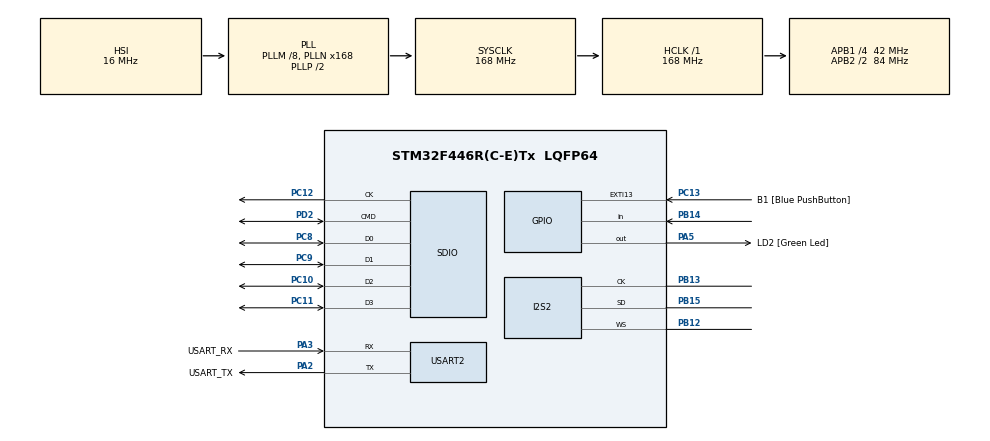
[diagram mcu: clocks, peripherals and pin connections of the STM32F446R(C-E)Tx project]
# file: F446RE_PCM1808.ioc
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Dma.Request0=SPI2_RX
Dma.Request1=SDIO_RX
Dma.Request2=SDIO_TX
Dma.SDIO_RX.1.Direction=DMA_PERIPH_TO_MEMORY
Dma.SDIO_RX.1.FIFOMode=DMA_FIFOMODE_ENABLE
Dma.SDIO_RX.1.FIFOThreshold=DMA_FIFO_THRESHOLD_FULL
Dma.SDIO_RX.1.Instance=DMA2_Stream3
Dma.SDIO_RX.1.MemBurst=DMA_MBURST_INC4
Dma.SDIO_RX.1.MemDataAlignment=DMA_MDATAALIGN_WORD
Dma.SDIO_RX.1.MemInc=DMA_MINC_ENABLE
Dma.SDIO_RX.1.Mode=DMA_PFCTRL
Dma.SDIO_RX.1.PeriphBurst=DMA_PBURST_INC4
Dma.SDIO_RX.1.PeriphDataAlignment=DMA_PDATAALIGN_WORD
Dma.SDIO_RX.1.PeriphInc=DMA_PINC_DISABLE
Dma.SDIO_RX.1.Priority=DMA_PRIORITY_LOW
Dma.SDIO_TX.2.Direction=DMA_MEMORY_TO_PERIPH
Dma.SDIO_TX.2.FIFOMode=DMA_FIFOMODE_ENABLE
Dma.SDIO_TX.2.FIFOThreshold=DMA_FIFO_THRESHOLD_FULL
Dma.SDIO_TX.2.Instance=DMA2_Stream6
Dma.SDIO_TX.2.MemBurst=DMA_MBURST_INC4
Dma.SDIO_TX.2.MemDataAlignment=DMA_MDATAALIGN_WORD
Dma.SDIO_TX.2.MemInc=DMA_MINC_ENABLE
Dma.SDIO_TX.2.Mode=DMA_PFCTRL
Dma.SDIO_TX.2.PeriphBurst=DMA_PBURST_INC4
Dma.SDIO_TX.2.PeriphDataAlignment=DMA_PDATAALIGN_WORD
Dma.SDIO_TX.2.PeriphInc=DMA_PINC_DISABLE
Dma.SDIO_TX.2.Priority=DMA_PRIORITY_LOW
Dma.SPI2_RX.0.Direction=DMA_PERIPH_TO_MEMORY
Dma.SPI2_RX.0.FIFOMode=DMA_FIFOMODE_DISABLE
Dma.SPI2_RX.0.Instance=DMA1_Stream3
Dma.SPI2_RX.0.MemDataAlignment=DMA_MDATAALIGN_HALFWORD
Dma.SPI2_RX.0.MemInc=DMA_MINC_ENABLE
Dma.SPI2_RX.0.Mode=DMA_NORMAL
Dma.SPI2_RX.0.PeriphDataAlignment=DMA_PDATAALIGN_HALFWORD
Dma.SPI2_RX.0.PeriphInc=DMA_PINC_DISABLE
Dma.SPI2_RX.0.Priority=DMA_PRIORITY_LOW
FATFS.BSP.number=1
FATFS0.BSP.STBoard=false
FATFS0.BSP.api=Unknown
FATFS0.BSP.instance=PB14
FATFS0.BSP.ip=GPIO
FATFS0.BSP.mode=Input
FATFS0.BSP.name=Detect_SDIO
FATFS0.BSP.solution=PB14
I2S2.AudioFreq=I2S_AUDIOFREQ_48K
I2S2.DataFormat=I2S_DATAFORMAT_24B
I2S2.ErrorAudioFreq=1.72 %
I2S2.FullDuplexMode=I2S_FULLDUPLEXMODE_DISABLE
I2S2.Instance=SPI$Index
I2S2.Mode=I2S_MODE_MASTER_RX
I2S2.RealAudioFreq=48.828 KHz
I2S2.VirtualMode=I2S_MODE_MASTER
Mcu.Family=STM32F4
Mcu.Name=STM32F446R(C-E)Tx
Mcu.Package=LQFP64
NVIC.DMA1_Stream3_IRQn=true\:0\:0\:false\:false\:true\:false\:true\:true
NVIC.DMA2_Stream3_IRQn=true\:0\:0\:false\:false\:true\:false\:true\:true
NVIC.DMA2_Stream6_IRQn=true\:0\:0\:false\:false\:true\:false\:true\:true
NVIC.EXTI15_10_IRQn=true\:0\:0\:false\:false\:true\:true\:true\:true
NVIC.PriorityGroup=NVIC_PRIORITYGROUP_0
NVIC.SDIO_IRQn=true\:0\:0\:false\:false\:true\:true\:true\:true
NVIC.TIM3_IRQn=true\:0\:0\:false\:false\:true\:true\:true\:true
PA13.GPIO_Label=TMS
PA13.Mode=Serial_Wire
PA13.Signal=SYS_JTMS-SWDIO
PA14.GPIO_Label=TCK
PA14.Mode=Serial_Wire
PA14.Signal=SYS_JTCK-SWCLK
PA2.GPIO_Label=USART_TX
PA2.Mode=Asynchronous
PA2.Signal=USART2_TX
PA3.GPIO_Label=USART_RX
PA3.Mode=Asynchronous
PA3.Signal=USART2_RX
PA5.GPIO_Label=LD2 [Green Led]
PA5.Signal=GPIO_Output
PB12.Mode=Half_Duplex_Master
PB12.Signal=I2S2_WS
PB13.Mode=Half_Duplex_Master
PB13.Signal=I2S2_CK
PB14.Signal=GPIO_Input
PB15.Mode=Half_Duplex_Master
PB15.Signal=I2S2_SD
PB3.GPIO_Label=SWO
PB3.Signal=SYS_JTDO-SWO
PC10.Mode=SD_4_bits_Wide_bus
PC10.Signal=SDIO_D2
PC11.Mode=SD_4_bits_Wide_bus
PC11.Signal=SDIO_D3
PC12.Mode=SD_4_bits_Wide_bus
PC12.Signal=SDIO_CK
PC13.GPIO_Label=B1 [Blue PushButton]
PC13.GPIO_ModeDefaultEXTI=GPIO_MODE_IT_FALLING
PC13.Signal=GPXTI13
PC14-OSC32_IN.Mode=LSE-External-Oscillator
PC14-OSC32_IN.Signal=RCC_OSC32_IN
PC15-OSC32_OUT.Mode=LSE-External-Oscillator
PC15-OSC32_OUT.Signal=RCC_OSC32_OUT
PC8.Mode=SD_4_bits_Wide_bus
PC8.Signal=SDIO_D0
PC9.Mode=SD_4_bits_Wide_bus
PC9.Signal=SDIO_D1
PD2.Mode=SD_4_bits_Wide_bus
PD2.Signal=SDIO_CMD
PH0-OSC_IN.Mode=HSE-External-Oscillator
PH0-OSC_IN.Signal=RCC_OSC_IN
PH1-OSC_OUT.Mode=HSE-External-Oscillator
PH1-OSC_OUT.Signal=RCC_OSC_OUT
ProjectManager.HeapSize=0x200
ProjectManager.StackSize=0x400
ProjectManager.TargetToolchain=STM32CubeIDE
RCC.48MHZClocksFreq_Value=84000000
RCC.AHBFreq_Value=168000000
RCC.APB1CLKDivider=RCC_HCLK_DIV4
RCC.APB1Freq_Value=42000000
RCC.APB1TimFreq_Value=84000000
RCC.APB2CLKDivider=RCC_HCLK_DIV2
RCC.APB2Freq_Value=84000000
RCC.APB2TimFreq_Value=168000000
RCC.CortexFreq_Value=168000000
RCC.FLatency-AdvancedSettings=FLASH_LATENCY_5
RCC.HCLKFreq_Value=168000000
RCC.HSE_VALUE=8000000
RCC.HSI_VALUE=16000000
RCC.PLLI2SM=8
RCC.PLLI2SN=50
RCC.PLLM=8
RCC.PLLN=168
RCC.PLLQ=7
RCC.SYSCLKFreq_VALUE=168000000
RCC.SYSCLKSource=RCC_SYSCLKSOURCE_PLLCLK
RCC.USBFreq_Value=48000000
RCC.VCOOutputFreq_Value=336000000
SDIO.HardwareFlowControl=SDIO_HARDWARE_FLOW_CONTROL_ENABLE
TIM3.Period=5000
TIM3.Prescaler=1680
USART2.VirtualMode=VM_ASYNC
VP_CRC_VS_CRC.Mode=CRC_Activate
VP_FATFS_VS_SDIO.Mode=SDIO
VP_TIM3_VS_ClockSourceINT.Mode=Internal
board=NUCLEO-F446RE

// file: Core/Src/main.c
/* USER CODE BEGIN Header */
/**
  ******************************************************************************
  * @file           : main.c
  * @brief          : Main program body
  ******************************************************************************
  * @attention
  *
  * Copyright (c) 2022 STMicroelectronics.
  * All rights reserved.
  *
  * This software is licensed under terms that can be found in the LICENSE file
  * in the root directory of this software component.
  * If no LICENSE file comes with this software, it is provided AS-IS.
  *
  ******************************************************************************
  */
/* USER CODE END Header */
#include "main.h"
#include "fatfs.h"

/* USER CODE BEGIN Includes */
#include <string.h>
#include <stdio.h>
#include <stdbool.h>

/* USER CODE END Includes */

/* USER CODE BEGIN PTD */
typedef union {
	uint32_t w;
	char b[4];
} _WORD;
typedef union {
	uint16_t hw;
	char b[2];
} _HALF_WORD;
typedef struct _WaveHeader{
	char riff[4];
	uint32_t size;
	char wave[4];
	char fmt[4];
	uint32_t fmt_size;
	uint16_t format; //1:PCM
	uint16_t channels; // channels
	uint32_t sampleRate;  // sample rate
	uint32_t rbc;//sampleRate*bitsPerSample*channels/8
	uint16_t bc; //bitsPerSample*channels/8
	uint16_t bitsPerSample; //bitsPerSample
	char data[4];
	uint32_t data_size;
} WAVE_HEADER;

/* USER CODE END PTD */

/* USER CODE BEGIN PD */
#define MAX_DMA_ACCESS_COUNT	(40960)

#define DMA_READ_SIZE			(128)

#define BUFFER_COUNT			(4)

#define STATE_STOP				1
#define STATE_RECORDING			2
#define STATE_START_RECORDING	3
#define CONNECTING				4
/* USER CODE END PD */

CRC_HandleTypeDef hcrc;

I2S_HandleTypeDef hi2s2;
DMA_HandleTypeDef hdma_spi2_rx;

SD_HandleTypeDef hsd;
DMA_HandleTypeDef hdma_sdio_rx;
DMA_HandleTypeDef hdma_sdio_tx;

TIM_HandleTypeDef htim3;

UART_HandleTypeDef huart2;

/* USER CODE BEGIN PV */
uint16_t DMA_TxRx_SIZE = DMA_READ_SIZE*2;
static uint16_t rcvBuf[DMA_READ_SIZE*2*BUFFER_COUNT];
static uint32_t rCount=0, wCount=0;
static uint8_t audio_state = STATE_STOP;
FRESULT res;
static bool contando = false;
uint16_t count = 0;
/* USER CODE END PV */

void SystemClock_Config(void);
static void MX_GPIO_Init(void);
static void MX_DMA_Init(void);
static void MX_USART2_UART_Init(void);
static void MX_I2S2_Init(void);
static void MX_SDIO_SD_Init(void);
static void MX_CRC_Init(void);
static void MX_TIM3_Init(void);
/* USER CODE BEGIN PFP */
FRESULT fwrite_wav_header(FIL* file, uint16_t sampleRate, uint8_t bitsPerSample, uint8_t channels);
void startRecord(char *filename);
FRESULT Format_SD (void);
/* USER CODE END PFP */

int main(void)
{

  /* MCU Configuration--------------------------------------------------------*/

  /* Reset of all peripherals, Initializes the Flash interface and the Systick. */
  HAL_Init();

  /* Configure the system clock */
  SystemClock_Config();

  /* Initialize all configured peripherals */
  MX_GPIO_Init();
  MX_DMA_Init();
  MX_USART2_UART_Init();
  MX_I2S2_Init();
  MX_SDIO_SD_Init();
  MX_CRC_Init();
  MX_FATFS_Init();
  MX_TIM3_Init();

  /* Infinite loop */
  /* USER CODE BEGIN WHILE */
  char filename[256];

  do
  {
	  res = f_mount(&SDFatFS, SDPath, 1);
  }
  while( res != FR_OK);

  do
  {
	  res = Format_SD();
  }
  while (res != FR_OK);

  while (1)
  {
	  if(audio_state == STATE_START_RECORDING)
	  	  {
	  		  HAL_Delay(1);
	  		  sprintf(filename, "%sr_%05d.wav", SDPath, count++);
	  		  startRecord(filename);
	  	  }
    /* USER CODE END WHILE */

  }
}

void SystemClock_Config(void)
{
  RCC_OscInitTypeDef RCC_OscInitStruct = {0};
  RCC_ClkInitTypeDef RCC_ClkInitStruct = {0};

  /** Configure the main internal regulator output voltage
  */
  __HAL_RCC_PWR_CLK_ENABLE();
  __HAL_PWR_VOLTAGESCALING_CONFIG(PWR_REGULATOR_VOLTAGE_SCALE1);

  /** Initializes the RCC Oscillators according to the specified parameters
  * in the RCC_OscInitTypeDef structure.
  */
  RCC_OscInitStruct.OscillatorType = RCC_OSCILLATORTYPE_HSI;
  RCC_OscInitStruct.HSIState = RCC_HSI_ON;
  RCC_OscInitStruct.HSICalibrationValue = RCC_HSICALIBRATION_DEFAULT;
  RCC_OscInitStruct.PLL.PLLState = RCC_PLL_ON;
  RCC_OscInitStruct.PLL.PLLSource = RCC_PLLSOURCE_HSI;
  RCC_OscInitStruct.PLL.PLLM = 8;
  RCC_OscInitStruct.PLL.PLLN = 168;
  RCC_OscInitStruct.PLL.PLLP = RCC_PLLP_DIV2;
  RCC_OscInitStruct.PLL.PLLQ = 7;
  RCC_OscInitStruct.PLL.PLLR = 2;
  if (HAL_RCC_OscConfig(&RCC_OscInitStruct) != HAL_OK)
  {
    Error_Handler();
  }

  /** Initializes the CPU, AHB and APB buses clocks
  */
  RCC_ClkInitStruct.ClockType = RCC_CLOCKTYPE_HCLK|RCC_CLOCKTYPE_SYSCLK
                              |RCC_CLOCKTYPE_PCLK1|RCC_CLOCKTYPE_PCLK2;
  RCC_ClkInitStruct.SYSCLKSource = RCC_SYSCLKSOURCE_PLLCLK;
  RCC_ClkInitStruct.AHBCLKDivider = RCC_SYSCLK_DIV1;
  RCC_ClkInitStruct.APB1CLKDivider = RCC_HCLK_DIV4;
  RCC_ClkInitStruct.APB2CLKDivider = RCC_HCLK_DIV2;

  if (HAL_RCC_ClockConfig(&RCC_ClkInitStruct, FLASH_LATENCY_5) != HAL_OK)
  {
    Error_Handler();
  }
}

static void MX_CRC_Init(void)
{

  hcrc.Instance = CRC;
  if (HAL_CRC_Init(&hcrc) != HAL_OK)
  {
    Error_Handler();
  }

}

static void MX_I2S2_Init(void)
{

  hi2s2.Instance = SPI2;
  hi2s2.Init.Mode = I2S_MODE_MASTER_RX;
  hi2s2.Init.Standard = I2S_STANDARD_PHILIPS;
  hi2s2.Init.DataFormat = I2S_DATAFORMAT_24B;
  hi2s2.Init.MCLKOutput = I2S_MCLKOUTPUT_DISABLE;
  hi2s2.Init.AudioFreq = I2S_AUDIOFREQ_48K;
  hi2s2.Init.CPOL = I2S_CPOL_LOW;
  hi2s2.Init.ClockSource = I2S_CLOCK_PLL;
  hi2s2.Init.FullDuplexMode = I2S_FULLDUPLEXMODE_DISABLE;
  if (HAL_I2S_Init(&hi2s2) != HAL_OK)
  {
    Error_Handler();
  }

}

static void MX_SDIO_SD_Init(void)
{

  hsd.Instance = SDIO;
  hsd.Init.ClockEdge = SDIO_CLOCK_EDGE_RISING;
  hsd.Init.ClockBypass = SDIO_CLOCK_BYPASS_DISABLE;
  hsd.Init.ClockPowerSave = SDIO_CLOCK_POWER_SAVE_DISABLE;
  hsd.Init.BusWide = SDIO_BUS_WIDE_1B;
  hsd.Init.HardwareFlowControl = SDIO_HARDWARE_FLOW_CONTROL_ENABLE;
  hsd.Init.ClockDiv = 0;

}

static void MX_TIM3_Init(void)
{

  TIM_ClockConfigTypeDef sClockSourceConfig = {0};
  TIM_MasterConfigTypeDef sMasterConfig = {0};

  htim3.Instance = TIM3;
  htim3.Init.Prescaler = 1680;
  htim3.Init.CounterMode = TIM_COUNTERMODE_UP;
  htim3.Init.Period = 5000;
  htim3.Init.ClockDivision = TIM_CLOCKDIVISION_DIV1;
  htim3.Init.AutoReloadPreload = TIM_AUTORELOAD_PRELOAD_DISABLE;
  if (HAL_TIM_Base_Init(&htim3) != HAL_OK)
  {
    Error_Handler();
  }
  sClockSourceConfig.ClockSource = TIM_CLOCKSOURCE_INTERNAL;
  if (HAL_TIM_ConfigClockSource(&htim3, &sClockSourceConfig) != HAL_OK)
  {
    Error_Handler();
  }
  sMasterConfig.MasterOutputTrigger = TIM_TRGO_RESET;
  sMasterConfig.MasterSlaveMode = TIM_MASTERSLAVEMODE_DISABLE;
  if (HAL_TIMEx_MasterConfigSynchronization(&htim3, &sMasterConfig) != HAL_OK)
  {
    Error_Handler();
  }

}

static void MX_USART2_UART_Init(void)
{

  huart2.Instance = USART2;
  huart2.Init.BaudRate = 115200;
  huart2.Init.WordLength = UART_WORDLENGTH_8B;
  huart2.Init.StopBits = UART_STOPBITS_1;
  huart2.Init.Parity = UART_PARITY_NONE;
  huart2.Init.Mode = UART_MODE_TX_RX;
  huart2.Init.HwFlowCtl = UART_HWCONTROL_NONE;
  huart2.Init.OverSampling = UART_OVERSAMPLING_16;
  if (HAL_UART_Init(&huart2) != HAL_OK)
  {
    Error_Handler();
  }

}

static void MX_DMA_Init(void)
{

  /* DMA controller clock enable */
  __HAL_RCC_DMA1_CLK_ENABLE();
  __HAL_RCC_DMA2_CLK_ENABLE();

  /* DMA interrupt init */
  /* DMA1_Stream3_IRQn interrupt configuration */
  HAL_NVIC_SetPriority(DMA1_Stream3_IRQn, 0, 0);
  HAL_NVIC_EnableIRQ(DMA1_Stream3_IRQn);
  /* DMA2_Stream3_IRQn interrupt configuration */
  HAL_NVIC_SetPriority(DMA2_Stream3_IRQn, 0, 0);
  HAL_NVIC_EnableIRQ(DMA2_Stream3_IRQn);
  /* DMA2_Stream6_IRQn interrupt configuration */
  HAL_NVIC_SetPriority(DMA2_Stream6_IRQn, 0, 0);
  HAL_NVIC_EnableIRQ(DMA2_Stream6_IRQn);

}

static void MX_GPIO_Init(void)
{
  GPIO_InitTypeDef GPIO_InitStruct = {0};

  /* GPIO Ports Clock Enable */
  __HAL_RCC_GPIOC_CLK_ENABLE();
  __HAL_RCC_GPIOH_CLK_ENABLE();
  __HAL_RCC_GPIOA_CLK_ENABLE();
  __HAL_RCC_GPIOB_CLK_ENABLE();
  __HAL_RCC_GPIOD_CLK_ENABLE();

  /*Configure GPIO pin Output Level */
  HAL_GPIO_WritePin(LD2_GPIO_Port, LD2_Pin, GPIO_PIN_RESET);

  /*Configure GPIO pin : B1_Pin */
  GPIO_InitStruct.Pin = B1_Pin;
  GPIO_InitStruct.Mode = GPIO_MODE_IT_FALLING;
  GPIO_InitStruct.Pull = GPIO_NOPULL;
  HAL_GPIO_Init(B1_GPIO_Port, &GPIO_InitStruct);

  /*Configure GPIO pin : LD2_Pin */
  GPIO_InitStruct.Pin = LD2_Pin;
  GPIO_InitStruct.Mode = GPIO_MODE_OUTPUT_PP;
  GPIO_InitStruct.Pull = GPIO_NOPULL;
  GPIO_InitStruct.Speed = GPIO_SPEED_FREQ_LOW;
  HAL_GPIO_Init(LD2_GPIO_Port, &GPIO_InitStruct);

  /*Configure GPIO pin : PB14 */
  GPIO_InitStruct.Pin = GPIO_PIN_14;
  GPIO_InitStruct.Mode = GPIO_MODE_INPUT;
  GPIO_InitStruct.Pull = GPIO_NOPULL;
  HAL_GPIO_Init(GPIOB, &GPIO_InitStruct);

  /* EXTI interrupt init*/
  HAL_NVIC_SetPriority(EXTI15_10_IRQn, 0, 0);
  HAL_NVIC_EnableIRQ(EXTI15_10_IRQn);

}

/* USER CODE BEGIN 4 */
void HAL_GPIO_EXTI_Callback(uint16_t GPIO_Pin) {
	if (GPIO_Pin == GPIO_PIN_13 && contando == false) {
		HAL_TIM_Base_Start_IT(&htim3);
		contando = true;
	}
	__NOP();
}
void HAL_TIM_PeriodElapsedCallback(TIM_HandleTypeDef *htim) {
	if (HAL_GPIO_ReadPin(GPIOC, GPIO_PIN_13) == GPIO_PIN_RESET) {
		switch (audio_state) {
		case STATE_STOP:
			audio_state = STATE_START_RECORDING;
			break;
		case STATE_RECORDING:
			audio_state = STATE_STOP;
			break;
		case STATE_START_RECORDING:
			break;
		default:
			audio_state = STATE_STOP;
			break;
		}
		contando = false;
		HAL_TIM_Base_Stop_IT(&htim3);
	}
}
void HAL_I2S_RxCpltCallback(I2S_HandleTypeDef *hi2s){
	uint8_t rcvCplt = 0;
	uint16_t* rpt, *wpt, *temppt;

	rCount++;
	rpt = (rcvBuf)+(rCount%BUFFER_COUNT)*DMA_TxRx_SIZE;
	HAL_I2S_Receive_DMA(hi2s, rpt, DMA_READ_SIZE);
}

FRESULT fwrite_wav_header(FIL* file, uint16_t sampleRate, uint8_t bitsPerSample, uint8_t channels) {
	UINT bw;
	WAVE_HEADER wave_header;
	wave_header.riff[0] = 'R';wave_header.riff[1] = 'I';
	wave_header.riff[2] = 'F';wave_header.riff[3] = 'F';
	wave_header.size = (uint32_t)0;
	wave_header.wave[0] = 'W';wave_header.wave[1] = 'A';
	wave_header.wave[2] = 'V';wave_header.wave[3] = 'E';
	wave_header.fmt[0] = 'f';wave_header.fmt[1] = 'm';
	wave_header.fmt[2] = 't';wave_header.fmt[3] = ' ';
	wave_header.fmt_size = 16;
	wave_header.format = 1; // PCM
	wave_header.channels = channels; // channels
	wave_header.sampleRate=sampleRate;  // sample rate
	wave_header.rbc = sampleRate*bitsPerSample*channels/8;
	wave_header.bc =  bitsPerSample*channels/8;
	wave_header.bitsPerSample = bitsPerSample; //bitsPerSample
	wave_header.data[0] = 'd'; wave_header.data[1] = 'a';
	wave_header.data[2] = 't'; wave_header.data[3] = 'a';
	wave_header.data_size = 0;
	return f_write(file, (uint8_t*)&wave_header, sizeof(wave_header), &bw);
}

void startRecord(char *filename) {
	uint16_t* rpt, *wpt, *temppt;
	UINT bw;
	UINT writeBytes;
	UINT skipCount=125;// skip 0.5 second
	FIL fp;
	FRESULT res;

	writeBytes = DMA_TxRx_SIZE*2;
	do
	{
		res = f_open(&fp, filename, FA_CREATE_ALWAYS|FA_WRITE);
	}
	while(res != FR_OK);
	res = fwrite_wav_header(&fp, 48000, 32, 2);

	HAL_GPIO_WritePin(LD2_GPIO_Port, LD2_Pin, GPIO_PIN_SET);
	audio_state = STATE_RECORDING;
	rpt = rcvBuf;
	wpt = rpt;
	rCount=0; wCount=0;
	HAL_I2S_Receive_DMA(&hi2s2, rpt, DMA_READ_SIZE);

	while (1)
	{
		if (wCount < rCount ) {
			if (rCount > skipCount)
			{
				res = f_write(&fp, wpt, writeBytes, &bw);
			}
			 wCount++;
			 wpt = (rcvBuf)+(wCount%BUFFER_COUNT)*DMA_TxRx_SIZE;
		  }

		  if (audio_state == STATE_STOP || rCount > MAX_DMA_ACCESS_COUNT)
		  {
			  HAL_I2S_DMAStop(&hi2s2);
			  break;
		  }
	}
	uint32_t data_len = (wCount-1) * writeBytes;
	uint32_t total_len = data_len+36;
	f_lseek(&fp, 4);
	f_write(&fp, (uint8_t*)&total_len, 4, &bw);
	f_lseek(&fp, 40);
	f_write(&fp, (uint8_t*)&data_len, 4, &bw);
	f_close(&fp);
	HAL_GPIO_WritePin(LD2_GPIO_Port, LD2_Pin, GPIO_PIN_RESET);
	audio_state = STATE_STOP;
}

FRESULT Format_SD (void)
{
    DIR dir;
    static FILINFO fno;
    static FRESULT fresult;

    char *path = malloc(20*sizeof (char));
    sprintf (path, "%s","/");

    fresult = f_opendir(&dir, path);                       /* Open the directory */
    if (fresult == FR_OK)
    {
        for (;;)
        {
            fresult = f_readdir(&dir, &fno);                   /* Read a directory item */
            if (fresult != FR_OK || fno.fname[0] == 0) break;  /* Break on error or end of dir */
            if (fno.fattrib & AM_DIR)     /* It is a directory */
            {
            	if (!(strcmp ("SYSTEM~1", fno.fname))) continue;
            	fresult = f_unlink(fno.fname);
            	if (fresult == FR_DENIED) continue;
            }
            else
            {   /* It is a file. */
               fresult = f_unlink(fno.fname);
            }
        }
        f_closedir(&dir);
    }
    free(path);
    return fresult;
}

/* USER CODE END 4 */

void Error_Handler(void)
{
  __disable_irq();
  while (1)
  {
  }
}
